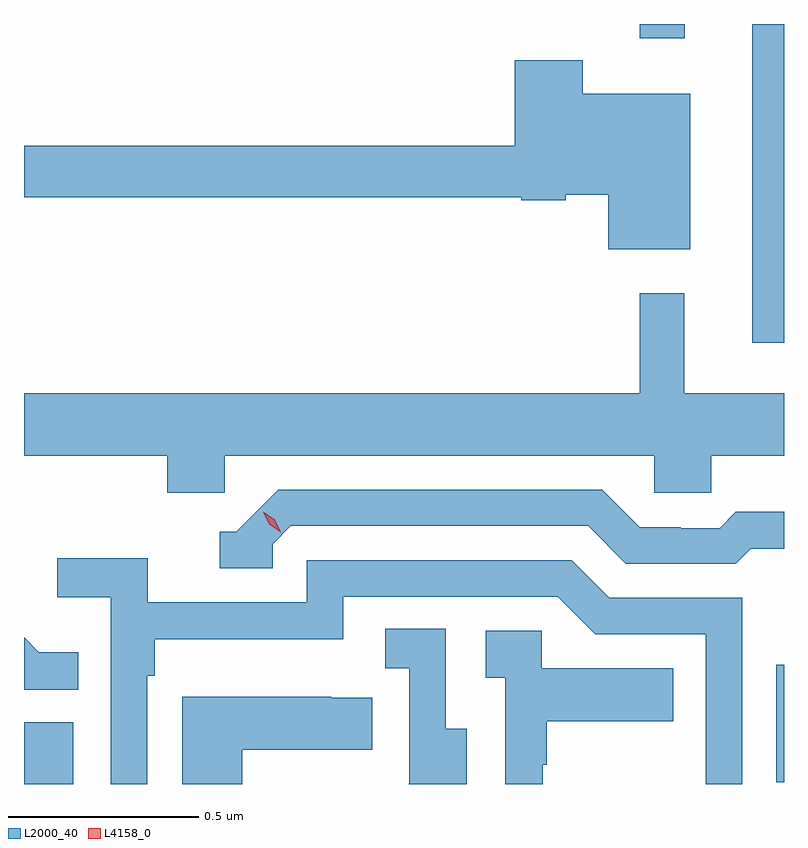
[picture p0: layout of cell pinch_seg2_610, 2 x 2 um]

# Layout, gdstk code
import gdstk
lib = gdstk.Library(unit=1e-6, precision=1e-09)
def R(c, l, rs):  # rectangles x0, y0, x1, y1
    for r in rs: c.add(gdstk.rectangle(r[:2], r[2:], *l))
def P(c, l, *ps):  # polygons
    for p in ps: c.add(gdstk.Polygon(p, *l))
L2000_40 = (2000, 40)
L4158_0 = (4158, 0)

pinch_seg2_610 = lib.new_cell('pinch_seg2_610')
R(pinch_seg2_610, L2000_40, [(1055.592,604.148,1055.722,604.311), (1057.572,604.152,1057.592,604.462), (1057.508,605.309,1057.592,606.148), (1057.213,606.111,1057.331,606.148)])
P(pinch_seg2_610, L2000_40, [(1057.345,605.965),(1057.062,605.965),(1057.062,606.052),(1056.884,606.052),(1056.884,605.828),(1055.592,605.828),(1055.592,605.692),(1056.9,605.692),(1056.9,605.684),(1057.017,605.684),(1057.017,605.699),(1057.13,605.699),(1057.13,605.555),(1057.345,605.555)],
  [(1056.12,605.012),(1057.251,605.012),(1057.251,604.914),(1057.401,604.914),(1057.401,605.012),(1057.592,605.012),(1057.592,605.176),(1057.33,605.176),(1057.33,605.44),(1057.213,605.44),(1057.213,605.176),(1055.592,605.176),(1055.592,605.012),(1055.969,605.012),(1055.969,604.914),(1056.12,604.914)],
  [(1056.246,604.779),(1056.294,604.827),(1057.077,604.827),(1057.176,604.728),(1057.465,604.728),(1057.504,604.767),(1057.592,604.767),(1057.592,604.864),(1057.465,604.864),(1057.423,604.821),(1057.32,604.821),(1057.32,604.824),(1057.213,604.824),(1057.114,604.923),(1056.261,604.923),(1056.15,604.812),(1056.107,604.812),(1056.107,604.716),(1056.246,604.716)],
  [(1055.916,604.433),(1055.936,604.433),(1055.936,604.529),(1056.432,604.529),(1056.432,604.641),(1056.996,604.641),(1057.095,604.542),(1057.386,604.542),(1057.386,604.148),(1057.482,604.148),(1057.482,604.638),(1057.132,604.638),(1057.033,604.737),(1056.336,604.737),(1056.336,604.626),(1055.918,604.626),(1055.918,604.742),(1055.679,604.742),(1055.679,604.64),(1055.82,604.64),(1055.82,604.148),(1055.916,604.148)],
  [(1056.757,604.293),(1056.702,604.293),(1056.702,604.556),(1056.543,604.556),(1056.543,604.453),(1056.606,604.453),(1056.606,604.149),(1056.605,604.149),(1056.605,604.148),(1056.757,604.148)],
  [(1056.957,604.199),(1056.967,604.199),(1056.967,604.313),(1057.301,604.313),(1057.301,604.453),(1056.954,604.453),(1056.954,604.551),(1056.807,604.551),(1056.807,604.427),(1056.858,604.427),(1056.858,604.148),(1056.957,604.148)],
  [(1055.735,604.495),(1055.631,604.495),(1055.592,604.534),(1055.592,604.396),(1055.735,604.396)],
  [(1056.166,604.238),(1056.509,604.238),(1056.509,604.375),(1056.401,604.375),(1056.401,604.378),(1056.008,604.378),(1056.008,604.148),(1056.166,604.148)])
P(pinch_seg2_610, L4158_0, [(1056.268,604.811),(1056.237,604.831),(1056.221,604.863),(1056.221,604.864),(1056.221,604.864),(1056.252,604.844),(1056.268,604.812),(1056.268,604.811)])

lib.write_gds('pinch_seg2_610.gds')
